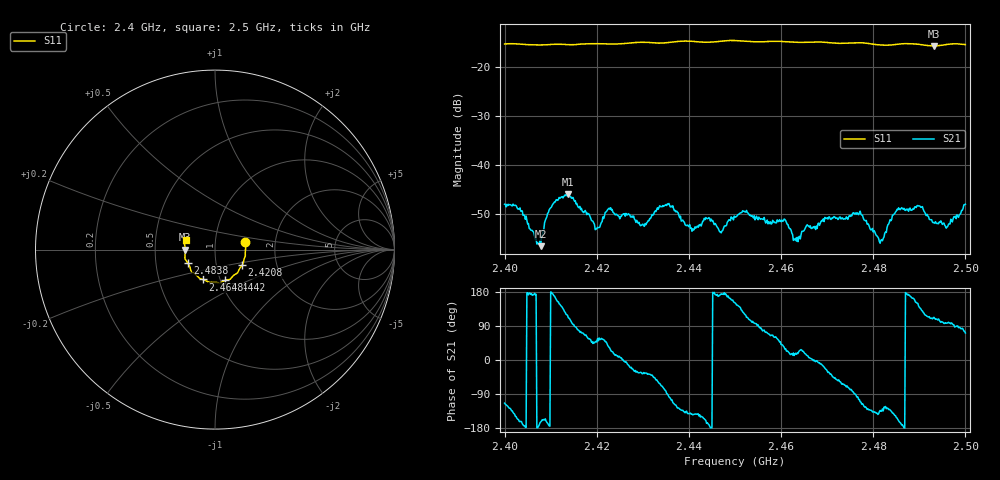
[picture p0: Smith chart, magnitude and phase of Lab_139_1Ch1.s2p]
# Hz S RI R 50
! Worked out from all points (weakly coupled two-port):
!   601 points, 2.4 GHz to 2.5 GHz, reference 50 ohm
!   highest |S21| = -45.86 dB at 2.4138 GHz (marker M1); lowest = -56.5 dB at 2.4078 GHz (marker M2)
!   lowest |S11| = -15.6 dB at 2.4932 GHz (marker M3), VSWR 1.40, Z = 35.8 - j0.0706 ohm
!   |S11| at or under -10 dB: start of sweep to end of sweep
!   S12 and S22 are empty: the file has one direction only
!   S11 on the Smith chart (normalised r, x): 2.4 GHz: 1.40, +0.12; 2.4208 GHz: 1.33, -0.24; 2.4442 GHz: 1.05, -0.37; 2.4648 GHz: 0.83, -0.28; 2.4838 GHz: 0.73, -0.11; 2.5 GHz: 0.72, +0.08
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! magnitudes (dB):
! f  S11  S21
! 2.4 GHz  -15.2  -48.0
! 2.4078 GHz  -15.4  -56.5
! 2.4102 GHz  -15.3  -48.5
! 2.4138 GHz  -15.4  -45.9
! 2.4167 GHz  -15.2  -48.8
! 2.4208 GHz  -15.2  -52.1
! 2.4228 GHz  -15.2  -49.0
! 2.4302 GHz  -14.9  -52.3
! 2.4333 GHz  -15.0  -49.0
! 2.4408 GHz  -14.7  -53.0
! 2.4442 GHz  -14.9  -50.9
! 2.447 GHz  -14.7  -53.8
! 2.45 GHz  -14.5  -50.6
! 2.4648 GHz  -14.9  -53.5
! 2.4667 GHz  -14.8  -52.9
! 2.4767 GHz  -15.0  -50.0
! 2.4817 GHz  -15.4  -55.3
! 2.4833 GHz  -15.5  -52.0
! 2.4838 GHz  -15.4  -51.3
! 2.49 GHz  -15.3  -48.3
! 2.4932 GHz  -15.6  -51.7
! 2.5 GHz  -15.3  -48.0
